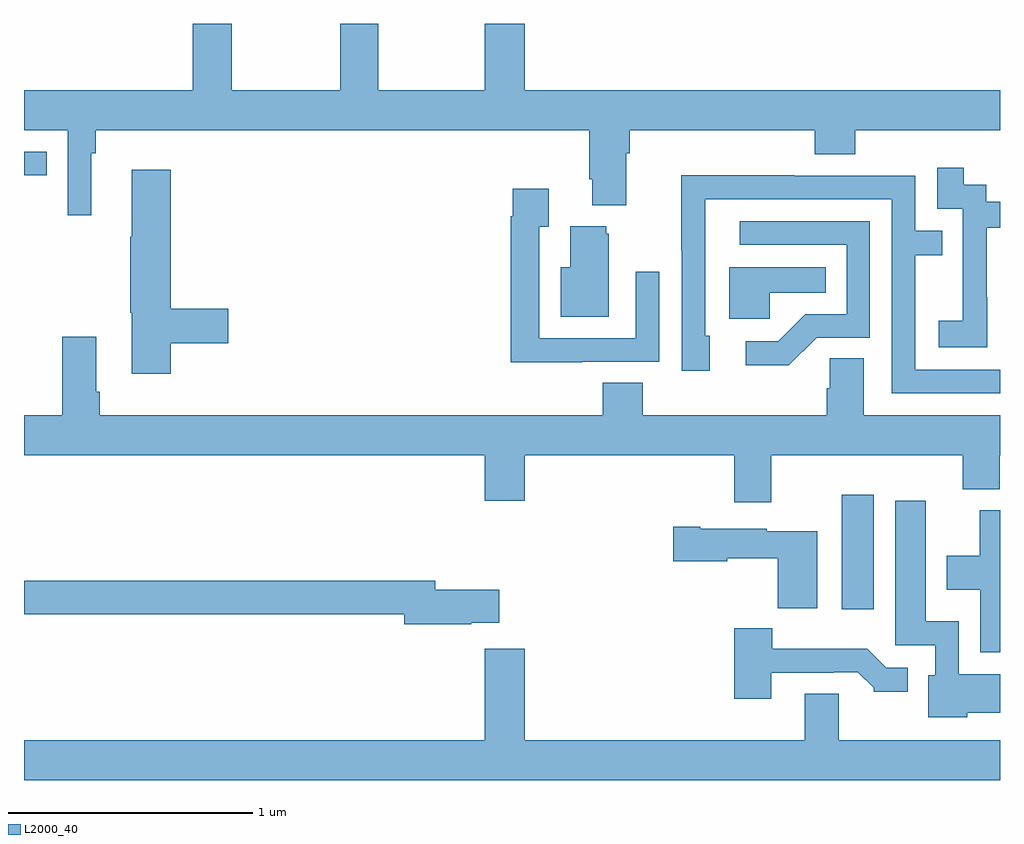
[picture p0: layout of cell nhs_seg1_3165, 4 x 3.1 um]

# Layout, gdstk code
import gdstk
lib = gdstk.Library(unit=1e-6, precision=1e-09)
def R(c, l, rs):  # rectangles x0, y0, x1, y1
    for r in rs: c.add(gdstk.rectangle(r[:2], r[2:], *l))
def P(c, l, *ps):  # polygons
    for p in ps: c.add(gdstk.Polygon(p, *l))
L2000_40 = (2000, 40)

nhs_seg1_3165 = lib.new_cell('nhs_seg1_3165')
R(nhs_seg1_3165, L2000_40, [(286.352,517.8,286.483,518.269), (283,519.579,283.094,519.675)])
P(nhs_seg1_3165, L2000_40, [(283.276,519.668),(283.295,519.668),(283.295,519.764),(285.317,519.764),(285.317,519.562),(285.329,519.562),(285.329,519.455),(285.469,519.455),(285.469,519.668),(285.482,519.668),(285.482,519.764),(286.241,519.764),(286.241,519.665),(286.406,519.665),(286.406,519.764),(287,519.764),(287,519.928),(285.052,519.928),(285.052,520.199),(284.888,520.199),(284.888,519.928),(284.451,519.928),(284.451,520.199),(284.296,520.199),(284.296,519.928),(283.851,519.928),(283.851,520.199),(283.691,520.199),(283.691,519.928),(283,519.928),(283,519.764),(283.179,519.764),(283.179,519.414),(283.276,519.414)],
  [(286.947,519.079),(286.946,519.079),(286.946,519.363),(287,519.363),(287,519.471),(286.944,519.471),(286.944,519.54),(286.852,519.54),(286.852,519.61),(286.743,519.61),(286.743,519.441),(286.848,519.441),(286.848,519.212),(286.847,519.212),(286.847,518.983),(286.749,518.983),(286.749,518.873),(286.947,518.873)],
  [(283.601,518.89),(283.837,518.89),(283.837,519.032),(283.601,519.032),(283.601,519.601),(283.442,519.601),(283.442,519.326),(283.435,519.326),(283.435,519.015),(283.442,519.015),(283.442,518.766),(283.601,518.766)],
  [(287,518.781),(286.653,518.781),(286.653,519.25),(286.763,519.25),(286.763,519.351),(286.653,519.351),(286.653,519.576),(286.157,519.576),(286.157,519.578),(285.694,519.578),(285.694,519.271),(285.696,519.271),(285.696,518.778),(285.811,518.778),(285.811,518.922),(285.792,518.922),(285.792,519.25),(285.793,519.25),(285.793,519.48),(286.557,519.48),(286.557,518.685),(287,518.685)],
  [(285.287,518.814),(285.603,518.814),(285.603,519.184),(285.507,519.184),(285.507,518.91),(285.111,518.91),(285.111,519.367),(285.151,519.367),(285.151,519.523),(285.003,519.523),(285.003,519.41),(284.995,519.41),(284.995,518.813),(285.287,518.813)],
  [(286.248,518.913),(286.467,518.913),(286.467,519.39),(285.933,519.39),(285.933,519.294),(286.371,519.294),(286.371,519.009),(286.202,519.009),(286.091,518.898),(285.957,518.898),(285.957,518.801),(286.135,518.801)],
  [(285.397,519.339),(285.386,519.339),(285.386,519.37),(285.239,519.37),(285.239,519.202),(285.2,519.202),(285.2,518.999),(285.397,518.999)],
  [(286.056,519.098),(286.286,519.098),(286.286,519.202),(285.89,519.202),(285.89,518.99),(286.056,518.99)],
  [(286.063,518.432),(286.847,518.432),(286.847,518.291),(286.999,518.291),(286.999,518.432),(287,518.432),(287,518.596),(286.441,518.596),(286.441,518.828),(286.302,518.828),(286.302,518.705),(286.289,518.705),(286.289,518.596),(285.536,518.596),(285.536,518.729),(285.371,518.729),(285.371,518.596),(283.31,518.596),(283.31,518.692),(283.297,518.692),(283.297,518.917),(283.157,518.917),(283.157,518.596),(283,518.596),(283,518.432),(284.888,518.432),(284.888,518.244),(285.052,518.244),(285.052,518.432),(285.911,518.432),(285.911,518.238),(286.063,518.238)],
  [(286.866,517.376),(287,517.376),(287,517.534),(286.83,517.534),(286.83,517.75),(286.696,517.75),(286.696,518.245),(286.571,518.245),(286.571,517.653),(286.734,517.653),(286.734,517.53),(286.706,517.53),(286.706,517.358),(286.866,517.358)],
  [(287,518.206),(286.918,518.206),(286.918,518.02),(286.781,518.02),(286.781,517.88),(286.92,517.88),(286.92,517.623),(287,517.623)],
  [(286.252,518.119),(286.044,518.119),(286.044,518.131),(285.772,518.131),(285.772,518.139),(285.66,518.139),(285.66,517.996),(285.882,517.996),(285.882,518.009),(286.09,518.009),(286.09,517.805),(286.252,517.805)],
  [(284.834,517.745),(284.947,517.745),(284.947,517.88),(284.686,517.88),(284.686,517.916),(283,517.916),(283,517.78),(284.558,517.78),(284.558,517.738),(284.834,517.738)],
  [(286.063,517.539),(286.319,517.539),(286.319,517.542),(286.418,517.542),(286.482,517.478),(286.482,517.463),(286.621,517.463),(286.621,517.56),(286.533,517.56),(286.455,517.639),(286.066,517.639),(286.066,517.723),(285.911,517.723),(285.911,517.434),(286.063,517.434)],
  [(287,517.264),(286.339,517.264),(286.339,517.454),(286.199,517.454),(286.199,517.264),(285.052,517.264),(285.052,517.639),(284.888,517.639),(284.888,517.264),(283,517.264),(283,517.1),(287,517.1)])

lib.write_gds('nhs_seg1_3165.gds')
